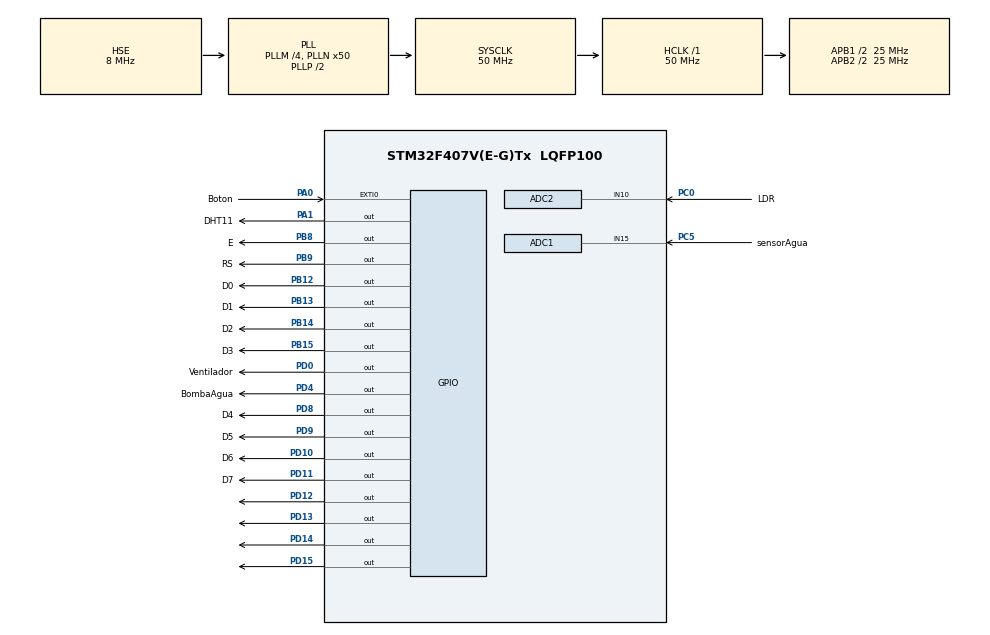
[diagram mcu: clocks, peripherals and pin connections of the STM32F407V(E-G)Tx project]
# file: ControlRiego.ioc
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ADC1.Channel-0\#ChannelRegularConversion=ADC_CHANNEL_15
ADC1.ClockPrescaler=ADC_CLOCK_SYNC_PCLK_DIV8
ADC1.ContinuousConvMode=DISABLE
ADC1.DMAContinuousRequests=DISABLE
ADC1.EOCSelection=ADC_EOC_SINGLE_CONV
ADC1.InjNumberOfConversion=0
ADC1.NbrOfConversion=1
ADC1.NbrOfConversionFlag=1
ADC1.Rank-0\#ChannelRegularConversion=1
ADC1.Resolution=ADC_RESOLUTION_12B
ADC1.SamplingTime-0\#ChannelRegularConversion=ADC_SAMPLETIME_480CYCLES
ADC1.ScanConvMode=DISABLE
ADC1.master=1
ADC2.Channel-1\#ChannelRegularConversion=ADC_CHANNEL_10
ADC2.ClockPrescaler=ADC_CLOCK_SYNC_PCLK_DIV8
ADC2.NbrOfConversionFlag=1
ADC2.Rank-1\#ChannelRegularConversion=1
ADC2.SamplingTime-1\#ChannelRegularConversion=ADC_SAMPLETIME_480CYCLES
Mcu.Family=STM32F4
Mcu.Name=STM32F407V(E-G)Tx
Mcu.Package=LQFP100
NVIC.ADC_IRQn=true\:0\:1\:false\:false\:true\:true\:true
NVIC.EXTI0_IRQn=true\:0\:0\:false\:false\:true\:true\:true
NVIC.PriorityGroup=NVIC_PRIORITYGROUP_0
NVIC.TIM1_UP_TIM10_IRQn=true\:0\:1\:false\:false\:true\:false\:true
NVIC.TIM2_IRQn=true\:0\:1\:false\:false\:true\:true\:true
NVIC.TIM3_IRQn=true\:0\:1\:false\:false\:true\:true\:true
NVIC.TIM4_IRQn=true\:0\:1\:false\:false\:true\:true\:true
NVIC.TimeBase=TIM1_UP_TIM10_IRQn
NVIC.TimeBaseIP=TIM1
PA0-WKUP.GPIO_Label=Boton
PA0-WKUP.Signal=GPXTI0
PA1.GPIO_Label=DHT11
PA1.GPIO_PuPd=GPIO_NOPULL
PA1.Signal=GPIO_Output
PB12.GPIO_Label=D0
PB12.Signal=GPIO_Output
PB13.GPIO_Label=D1
PB13.Signal=GPIO_Output
PB14.GPIO_Label=D2
PB14.Signal=GPIO_Output
PB15.GPIO_Label=D3
PB15.Signal=GPIO_Output
PB8.GPIO_Label=E
PB8.Signal=GPIO_Output
PB9.GPIO_Label=RS
PB9.Signal=GPIO_Output
PC0.GPIO_Label=LDR
PC0.Signal=ADCx_IN10
PC5.GPIO_Label=sensorAgua
PC5.Signal=ADCx_IN15
PD0.GPIO_Label=Ventilador
PD0.Signal=GPIO_Output
PD10.GPIO_Label=D6
PD10.Signal=GPIO_Output
PD11.GPIO_Label=D7
PD11.Signal=GPIO_Output
PD12.Signal=GPIO_Output
PD13.Signal=GPIO_Output
PD14.Signal=GPIO_Output
PD15.Signal=GPIO_Output
PD4.GPIO_Label=BombaAgua
PD4.Signal=GPIO_Output
PD8.GPIO_Label=D4
PD8.Signal=GPIO_Output
PD9.GPIO_Label=D5
PD9.Signal=GPIO_Output
PH0-OSC_IN.Mode=HSE-External-Oscillator
PH0-OSC_IN.Signal=RCC_OSC_IN
PH1-OSC_OUT.Mode=HSE-External-Oscillator
PH1-OSC_OUT.Signal=RCC_OSC_OUT
ProjectManager.HeapSize=0x200
ProjectManager.StackSize=0x400
ProjectManager.TargetToolchain=STM32CubeIDE
RCC.48MHZClocksFreq_Value=14285714.285714285
RCC.AHBFreq_Value=50000000
RCC.APB1CLKDivider=RCC_HCLK_DIV2
RCC.APB1Freq_Value=25000000
RCC.APB1TimFreq_Value=50000000
RCC.APB2CLKDivider=RCC_HCLK_DIV2
RCC.APB2Freq_Value=25000000
RCC.APB2TimFreq_Value=50000000
RCC.CortexFreq_Value=50000000
RCC.HCLKFreq_Value=50000000
RCC.HSE_VALUE=8000000
RCC.HSI_VALUE=16000000
RCC.LSE_VALUE=32768
RCC.PLLM=4
RCC.PLLN=50
RCC.PLLQ=7
RCC.PLLSourceVirtual=RCC_PLLSOURCE_HSE
RCC.SYSCLKFreq_VALUE=50000000
RCC.SYSCLKSource=RCC_SYSCLKSOURCE_PLLCLK
RCC.VCOOutputFreq_Value=100000000
SH.ADCx_IN10.0=ADC2_IN10,IN10
SH.ADCx_IN15.0=ADC1_IN15,IN15
TIM2.Period=10000
TIM2.Prescaler=10000
TIM3.Period=500
TIM3.Prescaler=10000
TIM4.Period=10000
TIM4.Prescaler=500
TIM6.Period=0xffff-1
TIM6.Prescaler=50-1
VP_SYS_VS_tim1.Mode=TIM1
VP_TIM2_VS_ClockSourceINT.Mode=Internal
VP_TIM3_VS_ClockSourceINT.Mode=Internal
VP_TIM4_VS_ClockSourceINT.Mode=Internal
VP_TIM6_VS_ClockSourceINT.Mode=Enable_Timer
board=STM32F407G-DISC1

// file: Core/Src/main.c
/* USER CODE BEGIN Header */
/**
  ******************************************************************************
  * @file           : main.c
  * @brief          : Main program body
  ******************************************************************************
  * @attention
  *
  * <h2><center>&copy; Copyright (c) 2021 STMicroelectronics.
  * All rights reserved.</center></h2>
  *
  * This software component is licensed by ST under BSD 3-Clause license,
  * the "License"; You may not use this file except in compliance with the
  * License. You may obtain a copy of the License at:
  *                        opensource.org/licenses/BSD-3-Clause
  *
  ******************************************************************************
  */
/* USER CODE END Header */
#include "main.h"

/* USER CODE BEGIN Includes */
#include "STM_MY_LCD16X2.h"
#include "stdbool.h"

/* USER CODE END Includes */

ADC_HandleTypeDef hadc1;
ADC_HandleTypeDef hadc2;

TIM_HandleTypeDef htim2;
TIM_HandleTypeDef htim3;
TIM_HandleTypeDef htim4;
TIM_HandleTypeDef htim6;

/* USER CODE BEGIN PV */
bool bomba = 0;

//LCD
uint8_t Rh_byte1, Rh_byte2, Temp_byte1, Temp_byte2;
uint16_t SUM, RH, TEMP;

float temperatura = 0;
float humedad = 0;
uint8_t presencia = 0;

//Sensores
uint32_t valorAgua = 0;
uint32_t valorLDR = 300;

/* USER CODE END PV */

void SystemClock_Config(void);
static void MX_GPIO_Init(void);
static void MX_TIM2_Init(void);
static void MX_ADC1_Init(void);
static void MX_TIM6_Init(void);
static void MX_TIM3_Init(void);
static void MX_TIM4_Init(void);
static void MX_ADC2_Init(void);

/* USER CODE BEGIN 0 */

/********************************* FUNCIONES DHT11 ***********************/
//Definir los puertos donde esta el sensor:
#define DHT11_PORT DHT11_GPIO_Port
#define DHT11_PIN DHT11_Pin

void Set_Pin_Output (GPIO_TypeDef* GPIOx, uint16_t GPIO_Pin) //pin como out
{
	GPIO_InitTypeDef GPIO_InitStruct = {0};
	GPIO_InitStruct.Pin = GPIO_Pin;
	GPIO_InitStruct.Mode = GPIO_MODE_OUTPUT_PP;
	GPIO_InitStruct.Speed = GPIO_SPEED_FREQ_LOW;
	HAL_GPIO_Init(GPIOx, &GPIO_InitStruct);
}
void Set_Pin_Input (GPIO_TypeDef* GPIOx, uint16_t GPIO_Pin)  //pin como in
{
	GPIO_InitTypeDef GPIO_InitStruct = {0};
	GPIO_InitStruct.Pin = GPIO_Pin;
	GPIO_InitStruct.Mode = GPIO_MODE_INPUT;
	GPIO_InitStruct.Pull = GPIO_NOPULL;
	HAL_GPIO_Init(GPIOx, &GPIO_InitStruct);
}

void delay (uint16_t time)
{
	/*Para generar un delay en microsegundos*/
	__HAL_TIM_SET_COUNTER(&htim6, 0);
	while ((__HAL_TIM_GET_COUNTER(&htim6))<time);
}

void DHT11_Start (void)
{
	HAL_GPIO_WritePin(DHT11_PORT, DHT11_PIN, 1);    //Inicia el pin como HIGH
	HAL_Delay(300);
	Set_Pin_Output (DHT11_PORT, DHT11_PIN);         //pin como out para transmitir
	HAL_GPIO_WritePin (DHT11_PORT, DHT11_PIN, 0);   //pin en LOW para iniciar la comunicacion
	delay (18000);   								//18ms
	Set_Pin_Input(DHT11_PORT, DHT11_PIN);           //pin como in para recibir
}

uint8_t DHT11_Check_Response (void)
{
	uint8_t Response = 0;
	delay (40);
	if (!(HAL_GPIO_ReadPin (DHT11_PORT, DHT11_PIN)))
	{
		delay (80);
		if ((HAL_GPIO_ReadPin (DHT11_PORT, DHT11_PIN))) Response = 1;   //El pin responde
		else Response = -1;
	}
	while ((HAL_GPIO_ReadPin (DHT11_PORT, DHT11_PIN)));      			//Espera a que el pin se ponga LOW

	return Response;
}

uint8_t DHT11_Read (void)
{
	uint8_t i,j;
	for (j=0;j<8;j++)
	{
		while (!(HAL_GPIO_ReadPin (DHT11_PORT, DHT11_PIN)));     //Espera a que el pin se ponga HIGH
		delay (40);  											 //40 us
		if (!(HAL_GPIO_ReadPin (DHT11_PORT, DHT11_PIN)))  		 //Si el pin esta en LOW
		{
			i&= ~(1<<(7-j));   									 // write 0
		}
		else i|= (1<<(7-j));  									 //Si el pin esta en HIHG, write 1
		while ((HAL_GPIO_ReadPin (DHT11_PORT, DHT11_PIN)));  	 //Espera a que el pin se ponga LOW
	}
	return i;
}
void leerDatosSensorDHT11(){
	  DHT11_Start();              		  //se inicializa el sensor
	  presencia = DHT11_Check_Response(); //esperamos a su respuesta
	  Rh_byte1 = DHT11_Read();			  //
	  Rh_byte2 = DHT11_Read();			  // Se leen los 5 siguientes bytes de datos correspondientes a la humedad y temperatura
	  Temp_byte1 = DHT11_Read();          //
	  Temp_byte2 = DHT11_Read();          //
	  SUM = DHT11_Read();

	  TEMP = Temp_byte1;                  //valor de temperatura
	  RH = Rh_byte1;					  //valor de humedad

	  temperatura = (int) TEMP - 3;
	  humedad = (int) RH;
}

void  escribirDatosDHT11aLCD(){
	LCD1602_clear();
	LCD1602_print("T: ");            //valores mostrados en la LCD
	LCD1602_PrintInt(temperatura);
	LCD1602_print("*C");
	LCD1602_print("  RH: ");
	LCD1602_PrintInt(humedad);
	LCD1602_print("%");
}
////////////////////////////////*****CALLBACKS*****///////////////////////////////////////////
void HAL_GPIO_EXTI_Callback(uint16_t GPIO_Pin)
{
	if((GPIO_Pin == Boton_Pin) && (bomba==0)){
		if(valorAgua>2520){
			if(humedad<60){
				HAL_TIM_Base_Start_IT(&htim2);
				HAL_GPIO_WritePin(GPIOD,BombaAgua_Pin,1);
				HAL_GPIO_WritePin(GPIOD,GPIO_PIN_12,1);
				bomba = 1;
			}
			else{
				LCD1602_2ndLine();
				LCD1602_print("Entorno humedo");
			}
		}
		else{
			LCD1602_2ndLine();
			LCD1602_print("  No hay agua  ");
		}

	}
	else{
		LCD1602_2ndLine();
		LCD1602_print("   Bomba ON   ");

	}
}

void HAL_ADC_ConvCpltCallback (ADC_HandleTypeDef * hadc){ //Conversores

	if (hadc->Instance == ADC1){
		valorAgua = HAL_ADC_GetValue(&hadc1);
		HAL_TIM_Base_Start_IT(&htim4);
	}

	if (hadc->Instance == ADC2){
		valorLDR = HAL_ADC_GetValue(&hadc2);
		HAL_TIM_Base_Start_IT(&htim4);
	}

}
/* USER CODE END 0 */

int main(void)
{

  /* MCU Configuration--------------------------------------------------------*/

  /* Reset of all peripherals, Initializes the Flash interface and the Systick. */
  HAL_Init();

  /* Configure the system clock */
  SystemClock_Config();

  /* Initialize all configured peripherals */
  MX_GPIO_Init();
  MX_TIM2_Init();
  MX_ADC1_Init();
  MX_TIM6_Init();
  MX_TIM3_Init();
  MX_TIM4_Init();
  MX_ADC2_Init();
  /* USER CODE BEGIN 2 */

  //Inicializacion LCD
  LCD1602_Begin8BIT(RS_GPIO_Port, RS_Pin, E_Pin, D0_GPIO_Port, D0_Pin, D1_Pin, D2_Pin, D3_Pin, D4_GPIO_Port, D4_Pin, D5_Pin, D6_Pin, D7_Pin);
  LCD1602_clear();
  LCD1602_print("   Iniciando   ");
  LCD1602_2ndLine();
  LCD1602_print("    sistema    ");
  //LCD1602_PrintFloat(temperatura);

  HAL_TIM_Base_Start(&htim6); //Se inicia el temporizador del sensor de humedad

  HAL_Delay(2000);            //2s

  //Inicializamos los ADC
  HAL_ADC_Start_IT(&hadc1);
  HAL_ADC_Start_IT(&hadc2);

  /* USER CODE END 2 */

  /* Infinite loop */
  while (1)
  {

    /* USER CODE BEGIN 3 */
	  //HAL_Delay(10); //10ms

	  //AGUA
	  if (valorAgua<2520){
		  HAL_GPIO_WritePin(GPIOD,GPIO_PIN_14,1);
		  HAL_GPIO_WritePin(GPIOD,GPIO_PIN_15,0);
	  }
	  else {
		  HAL_GPIO_WritePin(GPIOD,GPIO_PIN_14,0);
		  HAL_GPIO_WritePin(GPIOD,GPIO_PIN_15,1);
	  }

	  //Control de regadio por luminosidad (riego automatico por la noche)
	  if (valorLDR<320){
		  HAL_GPIO_WritePin(GPIOD, GPIO_PIN_13, 1);
			  if(bomba==0) {
		  	  	  if(valorAgua>2520){
		  	  			  if(humedad<60){
		  	  				  HAL_TIM_Base_Start_IT(&htim2);
		  	  				  HAL_GPIO_WritePin(GPIOD,BombaAgua_Pin,1);
		  	  				  HAL_GPIO_WritePin(GPIOD,GPIO_PIN_12,1);
		  	  				  bomba = 1;
		  	  			  }
		  	  			  else{
		  	  				LCD1602_2ndLine();
		  	  				LCD1602_print("Entorno humedo");
		  	  			  }
		  	  	  }
		  	  	  else{
		  	  		  LCD1602_2ndLine();
		  	  		  LCD1602_print("  No hay agua  ");
		  	  	  }
			  }
		  	 else{
		  		LCD1602_2ndLine();
		  		LCD1602_print("   Bomba ON   ");
			  }
	  }
	  else{
		HAL_GPIO_WritePin(GPIOD, GPIO_PIN_13, 0);
		  }

	  //Apagado de regadio en caso de lluvia (aumento de la humedad)
	  if(humedad>60){
		  HAL_GPIO_WritePin(GPIOD,BombaAgua_Pin,0);
		  bomba = 0;
	  }

	  //VENTILADOR
	  if (temperatura > 25.0){ //Ventilacion en caso de alta temperatura
		  HAL_GPIO_WritePin(GPIOD,Ventilador_Pin,1);
	  }
	  else {
		  HAL_GPIO_WritePin(GPIOD,Ventilador_Pin,0);
	  }

	  //SENSOR HUMEDAD
	  uint32_t tiempo_espera = 1000;
	  uint32_t tickstart = HAL_GetTick(); //se crea un delay de 2s sin bloquear el micro
	  while((HAL_GetTick() - tickstart) < tiempo_espera){

	  }

	  leerDatosSensorDHT11();

	  escribirDatosDHT11aLCD();

  }
  /* USER CODE END 3 */
}

void SystemClock_Config(void)
{
  RCC_OscInitTypeDef RCC_OscInitStruct = {0};
  RCC_ClkInitTypeDef RCC_ClkInitStruct = {0};

  /** Configure the main internal regulator output voltage
  */
  __HAL_RCC_PWR_CLK_ENABLE();
  __HAL_PWR_VOLTAGESCALING_CONFIG(PWR_REGULATOR_VOLTAGE_SCALE1);
  /** Initializes the RCC Oscillators according to the specified parameters
  * in the RCC_OscInitTypeDef structure.
  */
  RCC_OscInitStruct.OscillatorType = RCC_OSCILLATORTYPE_HSE;
  RCC_OscInitStruct.HSEState = RCC_HSE_ON;
  RCC_OscInitStruct.PLL.PLLState = RCC_PLL_ON;
  RCC_OscInitStruct.PLL.PLLSource = RCC_PLLSOURCE_HSE;
  RCC_OscInitStruct.PLL.PLLM = 4;
  RCC_OscInitStruct.PLL.PLLN = 50;
  RCC_OscInitStruct.PLL.PLLP = RCC_PLLP_DIV2;
  RCC_OscInitStruct.PLL.PLLQ = 7;
  if (HAL_RCC_OscConfig(&RCC_OscInitStruct) != HAL_OK)
  {
    Error_Handler();
  }
  /** Initializes the CPU, AHB and APB buses clocks
  */
  RCC_ClkInitStruct.ClockType = RCC_CLOCKTYPE_HCLK|RCC_CLOCKTYPE_SYSCLK
                              |RCC_CLOCKTYPE_PCLK1|RCC_CLOCKTYPE_PCLK2;
  RCC_ClkInitStruct.SYSCLKSource = RCC_SYSCLKSOURCE_PLLCLK;
  RCC_ClkInitStruct.AHBCLKDivider = RCC_SYSCLK_DIV1;
  RCC_ClkInitStruct.APB1CLKDivider = RCC_HCLK_DIV2;
  RCC_ClkInitStruct.APB2CLKDivider = RCC_HCLK_DIV2;

  if (HAL_RCC_ClockConfig(&RCC_ClkInitStruct, FLASH_LATENCY_1) != HAL_OK)
  {
    Error_Handler();
  }
}

static void MX_ADC1_Init(void)
{

  ADC_ChannelConfTypeDef sConfig = {0};

  /** Configure the global features of the ADC (Clock, Resolution, Data Alignment and number of conversion)
  */
  hadc1.Instance = ADC1;
  hadc1.Init.ClockPrescaler = ADC_CLOCK_SYNC_PCLK_DIV8;
  hadc1.Init.Resolution = ADC_RESOLUTION_12B;
  hadc1.Init.ScanConvMode = DISABLE;
  hadc1.Init.ContinuousConvMode = DISABLE;
  hadc1.Init.DiscontinuousConvMode = DISABLE;
  hadc1.Init.ExternalTrigConvEdge = ADC_EXTERNALTRIGCONVEDGE_NONE;
  hadc1.Init.ExternalTrigConv = ADC_SOFTWARE_START;
  hadc1.Init.DataAlign = ADC_DATAALIGN_RIGHT;
  hadc1.Init.NbrOfConversion = 1;
  hadc1.Init.DMAContinuousRequests = DISABLE;
  hadc1.Init.EOCSelection = ADC_EOC_SINGLE_CONV;
  if (HAL_ADC_Init(&hadc1) != HAL_OK)
  {
    Error_Handler();
  }
  /** Configure for the selected ADC regular channel its corresponding rank in the sequencer and its sample time.
  */
  sConfig.Channel = ADC_CHANNEL_15;
  sConfig.Rank = 1;
  sConfig.SamplingTime = ADC_SAMPLETIME_480CYCLES;
  if (HAL_ADC_ConfigChannel(&hadc1, &sConfig) != HAL_OK)
  {
    Error_Handler();
  }

}

static void MX_ADC2_Init(void)
{

  ADC_ChannelConfTypeDef sConfig = {0};

  /** Configure the global features of the ADC (Clock, Resolution, Data Alignment and number of conversion)
  */
  hadc2.Instance = ADC2;
  hadc2.Init.ClockPrescaler = ADC_CLOCK_SYNC_PCLK_DIV8;
  hadc2.Init.Resolution = ADC_RESOLUTION_12B;
  hadc2.Init.ScanConvMode = DISABLE;
  hadc2.Init.ContinuousConvMode = DISABLE;
  hadc2.Init.DiscontinuousConvMode = DISABLE;
  hadc2.Init.ExternalTrigConvEdge = ADC_EXTERNALTRIGCONVEDGE_NONE;
  hadc2.Init.ExternalTrigConv = ADC_SOFTWARE_START;
  hadc2.Init.DataAlign = ADC_DATAALIGN_RIGHT;
  hadc2.Init.NbrOfConversion = 1;
  hadc2.Init.DMAContinuousRequests = DISABLE;
  hadc2.Init.EOCSelection = ADC_EOC_SINGLE_CONV;
  if (HAL_ADC_Init(&hadc2) != HAL_OK)
  {
    Error_Handler();
  }
  /** Configure for the selected ADC regular channel its corresponding rank in the sequencer and its sample time.
  */
  sConfig.Channel = ADC_CHANNEL_10;
  sConfig.Rank = 1;
  sConfig.SamplingTime = ADC_SAMPLETIME_480CYCLES;
  if (HAL_ADC_ConfigChannel(&hadc2, &sConfig) != HAL_OK)
  {
    Error_Handler();
  }

}

static void MX_TIM2_Init(void)
{

  TIM_ClockConfigTypeDef sClockSourceConfig = {0};
  TIM_MasterConfigTypeDef sMasterConfig = {0};

  htim2.Instance = TIM2;
  htim2.Init.Prescaler = 10000;
  htim2.Init.CounterMode = TIM_COUNTERMODE_UP;
  htim2.Init.Period = 10000;
  htim2.Init.ClockDivision = TIM_CLOCKDIVISION_DIV1;
  htim2.Init.AutoReloadPreload = TIM_AUTORELOAD_PRELOAD_DISABLE;
  if (HAL_TIM_Base_Init(&htim2) != HAL_OK)
  {
    Error_Handler();
  }
  sClockSourceConfig.ClockSource = TIM_CLOCKSOURCE_INTERNAL;
  if (HAL_TIM_ConfigClockSource(&htim2, &sClockSourceConfig) != HAL_OK)
  {
    Error_Handler();
  }
  sMasterConfig.MasterOutputTrigger = TIM_TRGO_RESET;
  sMasterConfig.MasterSlaveMode = TIM_MASTERSLAVEMODE_DISABLE;
  if (HAL_TIMEx_MasterConfigSynchronization(&htim2, &sMasterConfig) != HAL_OK)
  {
    Error_Handler();
  }

}

static void MX_TIM3_Init(void)
{

  TIM_ClockConfigTypeDef sClockSourceConfig = {0};
  TIM_MasterConfigTypeDef sMasterConfig = {0};

  htim3.Instance = TIM3;
  htim3.Init.Prescaler = 10000;
  htim3.Init.CounterMode = TIM_COUNTERMODE_UP;
  htim3.Init.Period = 500;
  htim3.Init.ClockDivision = TIM_CLOCKDIVISION_DIV1;
  htim3.Init.AutoReloadPreload = TIM_AUTORELOAD_PRELOAD_DISABLE;
  if (HAL_TIM_Base_Init(&htim3) != HAL_OK)
  {
    Error_Handler();
  }
  sClockSourceConfig.ClockSource = TIM_CLOCKSOURCE_INTERNAL;
  if (HAL_TIM_ConfigClockSource(&htim3, &sClockSourceConfig) != HAL_OK)
  {
    Error_Handler();
  }
  sMasterConfig.MasterOutputTrigger = TIM_TRGO_RESET;
  sMasterConfig.MasterSlaveMode = TIM_MASTERSLAVEMODE_DISABLE;
  if (HAL_TIMEx_MasterConfigSynchronization(&htim3, &sMasterConfig) != HAL_OK)
  {
    Error_Handler();
  }

}

static void MX_TIM4_Init(void)
{

  TIM_ClockConfigTypeDef sClockSourceConfig = {0};
  TIM_MasterConfigTypeDef sMasterConfig = {0};

  htim4.Instance = TIM4;
  htim4.Init.Prescaler = 500;
  htim4.Init.CounterMode = TIM_COUNTERMODE_UP;
  htim4.Init.Period = 10000;
  htim4.Init.ClockDivision = TIM_CLOCKDIVISION_DIV1;
  htim4.Init.AutoReloadPreload = TIM_AUTORELOAD_PRELOAD_DISABLE;
  if (HAL_TIM_Base_Init(&htim4) != HAL_OK)
  {
    Error_Handler();
  }
  sClockSourceConfig.ClockSource = TIM_CLOCKSOURCE_INTERNAL;
  if (HAL_TIM_ConfigClockSource(&htim4, &sClockSourceConfig) != HAL_OK)
  {
    Error_Handler();
  }
  sMasterConfig.MasterOutputTrigger = TIM_TRGO_RESET;
  sMasterConfig.MasterSlaveMode = TIM_MASTERSLAVEMODE_DISABLE;
  if (HAL_TIMEx_MasterConfigSynchronization(&htim4, &sMasterConfig) != HAL_OK)
  {
    Error_Handler();
  }

}

static void MX_TIM6_Init(void)
{

  TIM_MasterConfigTypeDef sMasterConfig = {0};

  htim6.Instance = TIM6;
  htim6.Init.Prescaler = 50-1;
  htim6.Init.CounterMode = TIM_COUNTERMODE_UP;
  htim6.Init.Period = 0xffff-1;
  htim6.Init.AutoReloadPreload = TIM_AUTORELOAD_PRELOAD_DISABLE;
  if (HAL_TIM_Base_Init(&htim6) != HAL_OK)
  {
    Error_Handler();
  }
  sMasterConfig.MasterOutputTrigger = TIM_TRGO_RESET;
  sMasterConfig.MasterSlaveMode = TIM_MASTERSLAVEMODE_DISABLE;
  if (HAL_TIMEx_MasterConfigSynchronization(&htim6, &sMasterConfig) != HAL_OK)
  {
    Error_Handler();
  }

}

static void MX_GPIO_Init(void)
{
  GPIO_InitTypeDef GPIO_InitStruct = {0};

  /* GPIO Ports Clock Enable */
  __HAL_RCC_GPIOH_CLK_ENABLE();
  __HAL_RCC_GPIOC_CLK_ENABLE();
  __HAL_RCC_GPIOA_CLK_ENABLE();
  __HAL_RCC_GPIOB_CLK_ENABLE();
  __HAL_RCC_GPIOD_CLK_ENABLE();

  /*Configure GPIO pin Output Level */
  HAL_GPIO_WritePin(DHT11_GPIO_Port, DHT11_Pin, GPIO_PIN_RESET);

  /*Configure GPIO pin Output Level */
  HAL_GPIO_WritePin(GPIOB, D0_Pin|D1_Pin|D2_Pin|D3_Pin
                          |E_Pin|RS_Pin, GPIO_PIN_RESET);

  /*Configure GPIO pin Output Level */
  HAL_GPIO_WritePin(GPIOD, D4_Pin|D5_Pin|D6_Pin|D7_Pin
                          |GPIO_PIN_12|GPIO_PIN_13|GPIO_PIN_14|GPIO_PIN_15
                          |Ventilador_Pin|BombaAgua_Pin, GPIO_PIN_RESET);

  /*Configure GPIO pin : Boton_Pin */
  GPIO_InitStruct.Pin = Boton_Pin;
  GPIO_InitStruct.Mode = GPIO_MODE_IT_RISING;
  GPIO_InitStruct.Pull = GPIO_NOPULL;
  HAL_GPIO_Init(Boton_GPIO_Port, &GPIO_InitStruct);

  /*Configure GPIO pin : DHT11_Pin */
  GPIO_InitStruct.Pin = DHT11_Pin;
  GPIO_InitStruct.Mode = GPIO_MODE_OUTPUT_PP;
  GPIO_InitStruct.Pull = GPIO_NOPULL;
  GPIO_InitStruct.Speed = GPIO_SPEED_FREQ_LOW;
  HAL_GPIO_Init(DHT11_GPIO_Port, &GPIO_InitStruct);

  /*Configure GPIO pins : D0_Pin D1_Pin D2_Pin D3_Pin
                           E_Pin RS_Pin */
  GPIO_InitStruct.Pin = D0_Pin|D1_Pin|D2_Pin|D3_Pin
                          |E_Pin|RS_Pin;
  GPIO_InitStruct.Mode = GPIO_MODE_OUTPUT_PP;
  GPIO_InitStruct.Pull = GPIO_NOPULL;
  GPIO_InitStruct.Speed = GPIO_SPEED_FREQ_LOW;
  HAL_GPIO_Init(GPIOB, &GPIO_InitStruct);

  /*Configure GPIO pins : D4_Pin D5_Pin D6_Pin D7_Pin
                           PD12 PD13 PD14 PD15
                           Ventilador_Pin BombaAgua_Pin */
  GPIO_InitStruct.Pin = D4_Pin|D5_Pin|D6_Pin|D7_Pin
                          |GPIO_PIN_12|GPIO_PIN_13|GPIO_PIN_14|GPIO_PIN_15
                          |Ventilador_Pin|BombaAgua_Pin;
  GPIO_InitStruct.Mode = GPIO_MODE_OUTPUT_PP;
  GPIO_InitStruct.Pull = GPIO_NOPULL;
  GPIO_InitStruct.Speed = GPIO_SPEED_FREQ_LOW;
  HAL_GPIO_Init(GPIOD, &GPIO_InitStruct);

  /* EXTI interrupt init*/
  HAL_NVIC_SetPriority(EXTI0_IRQn, 0, 0);
  HAL_NVIC_EnableIRQ(EXTI0_IRQn);

}

void HAL_TIM_PeriodElapsedCallback(TIM_HandleTypeDef *htim)
{
  if (htim->Instance == TIM1) {
    HAL_IncTick();
  }
  /* USER CODE BEGIN Callback 1 */
  if (htim->Instance == TIM2){  //temporizador del regado
	  bomba = 0;
	  HAL_GPIO_WritePin(GPIOD,GPIO_PIN_12,0);
	  HAL_GPIO_WritePin(GPIOD,BombaAgua_Pin,0);
	  HAL_TIM_Base_Stop_IT(&htim2);
  }

  if (htim->Instance == TIM4){  //temporizador sensores
  	  HAL_TIM_Base_Stop_IT(&htim4);
  	  HAL_ADC_Start_IT(&hadc1);
  	  HAL_ADC_Start_IT(&hadc2);
    }
  /* USER CODE END Callback 1 */
}

void Error_Handler(void)
{
  __disable_irq();
  while (1)
  {
  }
}

/************************ (C) COPYRIGHT STMicroelectronics *****END OF FILE****/
